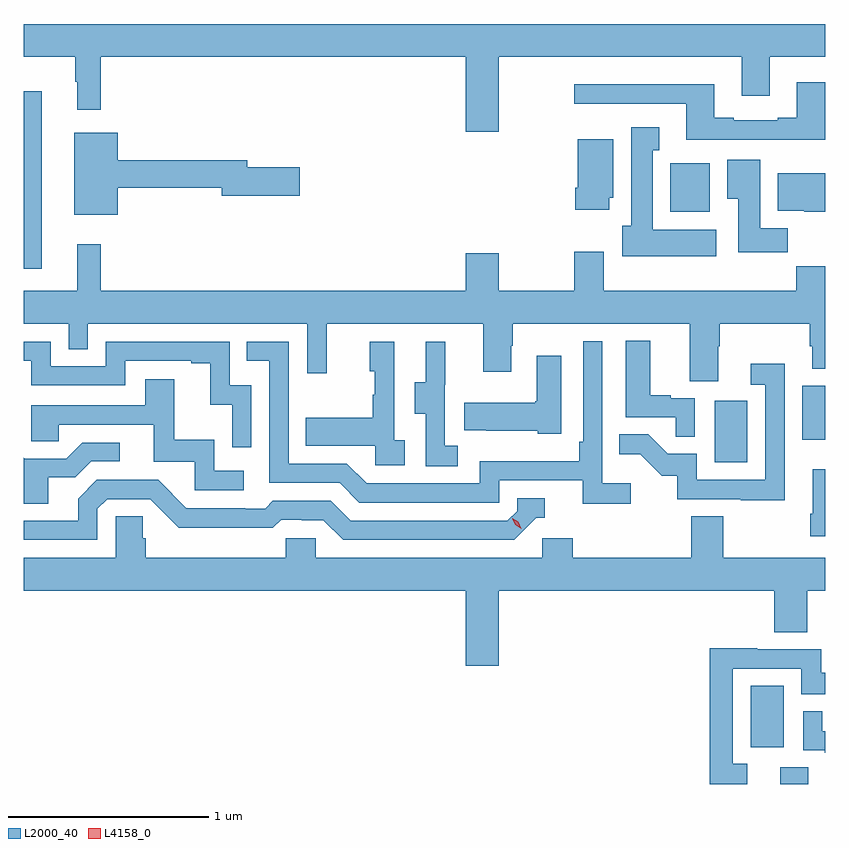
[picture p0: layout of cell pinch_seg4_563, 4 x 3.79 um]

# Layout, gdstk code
import gdstk
lib = gdstk.Library(unit=1e-6, precision=1e-09)
def R(c, l, rs):  # rectangles x0, y0, x1, y1
    for r in rs: c.add(gdstk.rectangle(r[:2], r[2:], *l))
def P(c, l, *ps):  # polygons
    for p in ps: c.add(gdstk.Polygon(p, *l))
L2000_40 = (2000, 40)
L4158_0 = (4158, 0)

pinch_seg4_563 = lib.new_cell('pinch_seg4_563')
R(pinch_seg4_563, L2000_40, [(1113.629,777.207,1113.769,777.29), (1113.482,777.39,1113.646,777.697), (1113.302,778.812,1113.466,779.119), (1113.74,778.925,1113.854,779.194), (1109.854,779.778,1109.944,780.664), (1113.08,780.062,1113.277,780.304)])
P(pinch_seg4_563, L2000_40, [(1109.854,780.836),(1110.111,780.836),(1110.111,780.713),(1110.122,780.713),(1110.122,780.573),(1110.239,780.573),(1110.239,780.836),(1112.06,780.836),(1112.06,780.462),(1112.224,780.462),(1112.224,780.836),(1113.437,780.836),(1113.437,780.642),(1113.577,780.642),(1113.577,780.836),(1113.854,780.836),(1113.854,781),(1109.854,781)],
  [(1113.853,780.709),(1113.713,780.709),(1113.713,780.532),(1113.617,780.532),(1113.617,780.519),(1113.397,780.519),(1113.397,780.532),(1113.301,780.532),(1113.301,780.7),(1112.601,780.7),(1112.601,780.603),(1113.161,780.603),(1113.161,780.423),(1113.625,780.423),(1113.625,780.422),(1113.853,780.422)],
  [(1113.31,779.974),(1112.992,779.974),(1112.992,780.371),(1113.025,780.371),(1113.025,780.484),(1112.885,780.484),(1112.885,779.994),(1112.84,779.994),(1112.84,779.84),(1113.31,779.84)],
  [(1110.322,780.184),(1110.842,780.184),(1110.842,780.142),(1111.231,780.142),(1111.231,780.284),(1110.97,780.284),(1110.97,780.32),(1110.322,780.32),(1110.322,780.457),(1110.107,780.457),(1110.107,780.047),(1110.322,780.047)],
  [(1112.776,780.132),(1112.797,780.132),(1112.797,780.424),(1112.618,780.424),(1112.618,780.184),(1112.606,780.184),(1112.606,780.072),(1112.776,780.072)],
  [(1113.668,779.98),(1113.529,779.98),(1113.529,780.322),(1113.365,780.322),(1113.365,780.128),(1113.419,780.128),(1113.419,779.862),(1113.668,779.862)],
  [(1113.854,780.256),(1113.617,780.256),(1113.617,780.068),(1113.75,780.068),(1113.75,780.062),(1113.854,780.062)],
  [(1113.319,779.392),(1113.327,779.392),(1113.327,779.504),(1113.777,779.504),(1113.777,779.392),(1113.788,779.392),(1113.788,779.279),(1113.854,779.279),(1113.854,779.668),(1113.853,779.668),(1113.853,779.792),(1113.709,779.792),(1113.709,779.668),(1112.749,779.668),(1112.749,779.863),(1112.602,779.863),(1112.602,779.668),(1112.224,779.668),(1112.224,779.857),(1112.06,779.857),(1112.06,779.668),(1110.239,779.668),(1110.239,779.902),(1110.122,779.902),(1110.122,779.668),(1109.854,779.668),(1109.854,779.504),(1110.078,779.504),(1110.078,779.377),(1110.174,779.377),(1110.174,779.504),(1111.269,779.504),(1111.269,779.256),(1111.367,779.256),(1111.367,779.504),(1112.147,779.504),(1112.147,779.265),(1112.287,779.265),(1112.287,779.393),(1112.295,779.393),(1112.295,779.504),(1113.179,779.504),(1113.179,779.218),(1113.319,779.218)],
  [(1113.204,779.133),(1113.083,779.133),(1113.083,779.146),(1112.98,779.146),(1112.98,779.419),(1112.858,779.419),(1112.858,779.037),(1113.109,779.037),(1113.109,778.939),(1113.204,778.939)],
  [(1112.884,778.708),(1112.742,778.708),(1112.742,779.416),(1112.646,779.416),(1112.646,778.915),(1112.626,778.915),(1112.626,778.819),(1112.13,778.819),(1112.13,778.707),(1111.566,778.707),(1111.467,778.806),(1111.176,778.806),(1111.176,779.415),(1110.967,779.415),(1110.967,779.319),(1111.08,779.319),(1111.08,778.71),(1111.43,778.71),(1111.529,778.611),(1112.226,778.611),(1112.226,778.722),(1112.645,778.722),(1112.645,778.606),(1112.884,778.606)],
  [(1110.99,779.196),(1110.882,779.196),(1110.882,779.415),(1110.264,779.415),(1110.264,779.292),(1109.988,779.292),(1109.988,779.415),(1109.854,779.415),(1109.854,779.319),(1109.892,779.319),(1109.892,779.196),(1110.36,779.196),(1110.36,779.319),(1110.689,779.319),(1110.689,779.307),(1110.785,779.307),(1110.785,779.099),(1110.894,779.099),(1110.894,778.887),(1110.99,778.887)],
  [(1111.756,778.922),(1111.704,778.922),(1111.704,779.413),(1111.58,779.413),(1111.58,779.268),(1111.606,779.268),(1111.606,779.15),(1111.596,779.15),(1111.596,779.035),(1111.261,779.035),(1111.261,778.895),(1111.608,778.895),(1111.608,778.797),(1111.756,778.797)],
  [(1112.02,778.895),(1111.956,778.895),(1111.956,779.199),(1111.958,779.199),(1111.958,779.413),(1111.859,779.413),(1111.859,779.211),(1111.805,779.211),(1111.805,779.056),(1111.86,779.056),(1111.86,778.792),(1112.02,778.792)],
  [(1112.536,779.344),(1112.414,779.344),(1112.414,779.118),(1112.407,779.118),(1112.407,779.11),(1112.053,779.11),(1112.053,778.973),(1112.161,778.973),(1112.161,778.97),(1112.418,778.97),(1112.418,778.955),(1112.536,778.955)],
  [(1113.651,779.305),(1113.483,779.305),(1113.483,779.199),(1113.555,779.199),(1113.555,778.725),(1113.213,778.725),(1113.213,778.854),(1113.068,778.854),(1112.97,778.952),(1112.827,778.952),(1112.827,778.853),(1112.931,778.853),(1113.038,778.746),(1113.115,778.746),(1113.115,778.629),(1113.433,778.629),(1113.433,778.624),(1113.651,778.624)],
  [(1110.952,778.77),(1110.804,778.77),(1110.804,778.924),(1110.605,778.924),(1110.605,779.227),(1110.461,779.227),(1110.461,779.097),(1109.892,779.097),(1109.892,778.917),(1110.029,778.917),(1110.029,779.001),(1110.503,779.001),(1110.503,778.815),(1110.708,778.815),(1110.708,778.674),(1110.952,778.674)],
  [(1109.977,778.738),(1110.112,778.738),(1110.192,778.818),(1110.334,778.818),(1110.334,778.911),(1110.146,778.911),(1110.065,778.83),(1109.859,778.83),(1109.854,778.835),(1109.854,778.606),(1109.977,778.606)],
  [(1113.854,778.777),(1113.792,778.777),(1113.792,778.555),(1113.78,778.555),(1113.78,778.443),(1113.854,778.443)],
  [(1110.222,778.581),(1110.27,778.629),(1110.486,778.629),(1110.628,778.487),(1110.864,778.487),(1110.864,778.485),(1111.097,778.485),(1111.139,778.527),(1111.242,778.527),(1111.242,778.524),(1111.349,778.524),(1111.448,778.425),(1112.301,778.425),(1112.412,778.536),(1112.455,778.536),(1112.455,778.632),(1112.316,778.632),(1112.316,778.569),(1112.268,778.521),(1111.485,778.521),(1111.386,778.62),(1111.097,778.62),(1111.058,778.581),(1110.959,778.581),(1110.959,778.584),(1110.666,778.584),(1110.525,778.725),(1110.219,778.725),(1110.125,778.631),(1110.125,778.521),(1109.854,778.521),(1109.854,778.425),(1110.222,778.425)],
  [(1112.224,778.172),(1113.599,778.172),(1113.599,777.964),(1113.764,777.964),(1113.764,778.172),(1113.854,778.172),(1113.854,778.336),(1113.345,778.336),(1113.345,778.544),(1113.185,778.544),(1113.185,778.336),(1112.594,778.336),(1112.594,778.434),(1112.442,778.434),(1112.442,778.336),(1111.311,778.336),(1111.311,778.434),(1111.161,778.434),(1111.161,778.336),(1110.464,778.336),(1110.464,778.434),(1110.449,778.434),(1110.449,778.544),(1110.312,778.544),(1110.312,778.336),(1109.854,778.336),(1109.854,778.172),(1112.06,778.172),(1112.06,777.798),(1112.224,777.798)],
  [(1113.466,777.309),(1113.393,777.309),(1113.393,777.783),(1113.735,777.783),(1113.735,777.654),(1113.854,777.654),(1113.854,777.762),(1113.834,777.762),(1113.834,777.879),(1113.515,777.879),(1113.515,777.884),(1113.277,777.884),(1113.277,777.207),(1113.466,777.207)],
  [(1113.854,777.471),(1113.839,777.471),(1113.839,777.569),(1113.744,777.569),(1113.744,777.375),(1113.851,777.375),(1113.851,777.363),(1113.854,777.363)])
P(pinch_seg4_563, L4158_0, [(1112.338,778.482),(1112.307,778.501),(1112.291,778.534),(1112.291,778.534),(1112.291,778.534),(1112.322,778.515),(1112.338,778.482),(1112.338,778.482)])

lib.write_gds('pinch_seg4_563.gds')
